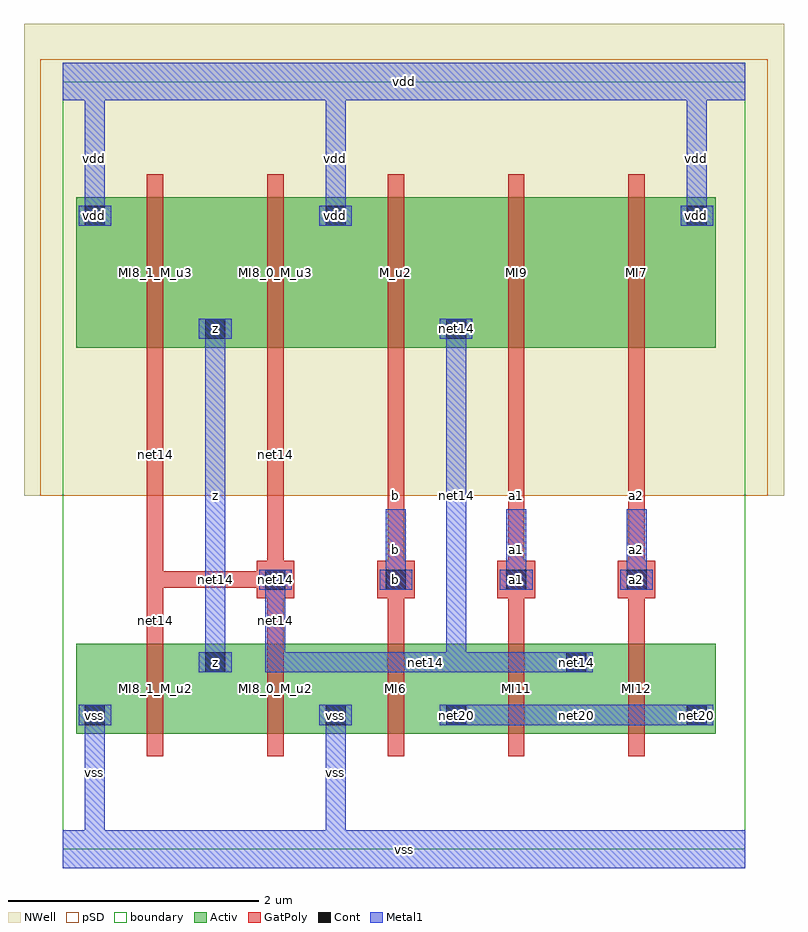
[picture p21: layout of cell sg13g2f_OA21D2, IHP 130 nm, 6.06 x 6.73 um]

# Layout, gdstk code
import gdstk
lib = gdstk.Library(unit=1e-6, precision=1e-09)
def R(c, l, rs):  # rectangles x0, y0, x1, y1
    for r in rs: c.add(gdstk.rectangle(r[:2], r[2:], *l))
def A(c, l, x, y, w, h, nx, ny, dx, dy):  # array of equal rectangles
    R(c, l, [(x+i*dx, y+j*dy, x+i*dx+w, y+j*dy+h) for i in range(nx) for j in range(ny)])
Activ = (1, 0)
GatPoly = (5, 0)
Cont = (6, 0)
Metal1 = (8, 0)
pSD = (14, 0)
NWell = (31, 0)
TEXT = (63, 0)
boundary = (189, 4)

sg13g2f_oa21d2 = lib.new_cell('sg13g2f_OA21D2')
A(sg13g2f_oa21d2, Activ, 0.105, 0.92, 1.26, 0.72, 5, 1, 0.96, 0)
A(sg13g2f_oa21d2, Activ, 0.105, 4, 1.26, 1.2, 5, 1, 0.96, 0)
R(sg13g2f_oa21d2, Activ, [(0.105,0.92,0.405,1.22), (2.025,0.92,2.325,1.22), (2.985,0.92,3.285,1.22), (4.905,0.92,5.205,1.22), (1.065,1.34,1.365,1.64), (3.945,1.34,4.245,1.64), (1.065,4,1.365,4.3), (2.985,4,3.285,4.3), (0.105,4.9,0.405,5.2), (2.025,4.9,2.325,5.2), (4.905,4.9,5.205,5.2)])
A(sg13g2f_oa21d2, GatPoly, 0.67, 0.74, 0.13, 1.08, 5, 1, 0.96, 0)
A(sg13g2f_oa21d2, GatPoly, 2.59, 1.425, 0.13, 2.79, 3, 1, 0.96, 0)
A(sg13g2f_oa21d2, GatPoly, 1.545, 2, 0.3, 0.3, 4, 1, 0.96, 0)
A(sg13g2f_oa21d2, GatPoly, 0.67, 3.82, 0.13, 1.56, 5, 1, 0.96, 0)
R(sg13g2f_oa21d2, GatPoly, [(0.67,1.425,0.8,2.215), (1.63,1.425,1.76,2.215), (0.67,2.085,1.76,2.215), (0.67,2.085,0.8,4.215), (1.63,2.085,1.76,4.215)])
A(sg13g2f_oa21d2, Cont, 1.615, 2.07, 0.16, 0.16, 4, 1, 0.96, 0)
R(sg13g2f_oa21d2, Cont, [(0.175,0.99,0.335,1.15), (2.095,0.99,2.255,1.15), (3.055,0.99,3.215,1.15), (4.975,0.99,5.135,1.15), (1.135,1.41,1.295,1.57), (4.015,1.41,4.175,1.57), (1.135,4.07,1.295,4.23), (3.055,4.07,3.215,4.23), (0.175,4.97,0.335,5.13), (2.095,4.97,2.255,5.13), (4.975,4.97,5.135,5.13)])
A(sg13g2f_oa21d2, Metal1, 1.565, 2.07, 0.26, 0.16, 4, 1, 0.96, 0)
A(sg13g2f_oa21d2, Metal1, 2.575, 2.07, 0.16, 0.64, 3, 1, 0.96, 0)
R(sg13g2f_oa21d2, Metal1, [(0,-0.15,5.44,0.15), (0.175,0.07,0.335,1.15), (2.095,0.07,2.255,1.15), (0.125,0.99,0.385,1.15), (2.045,0.99,2.305,1.15), (3.005,0.99,3.265,1.15), (3.055,0.99,5.135,1.15), (4.925,0.99,5.185,1.15), (1.085,1.41,1.345,1.57), (1.135,1.41,1.295,4.23), (1.615,1.41,4.175,1.57), (1.615,1.41,1.775,2.23), (3.055,1.41,3.215,4.23), (3.965,1.41,4.225,1.57), (1.085,4.07,1.345,4.23), (3.005,4.07,3.265,4.23), (0.125,4.97,0.385,5.13), (0.175,4.97,0.335,6.05), (2.045,4.97,2.305,5.13), (2.095,4.97,2.255,6.05), (4.925,4.97,5.185,5.13), (4.975,4.97,5.135,6.05), (0,5.97,5.44,6.27)])
R(sg13g2f_oa21d2, pSD, [(-0.18,2.82,5.62,5.94), (-0.18,5.94,5.62,6.3)])
R(sg13g2f_oa21d2, NWell, [(-0.31,2.82,5.75,6.58)])
R(sg13g2f_oa21d2, boundary, [(0,0,5.44,6.12)])
sg13g2f_oa21d2.add(gdstk.FlexPath([(0.105,0.41),(5.205,0.41)], 0, ends="flush", simple_path=True, layer=63, datatype=0))  # TEXT
sg13g2f_oa21d2.add(gdstk.FlexPath([(0.105,1.07),(5.205,1.07)], 0, ends="flush", simple_path=True, layer=63, datatype=0))  # TEXT
sg13g2f_oa21d2.add(gdstk.FlexPath([(0.105,1.49),(5.205,1.49)], 0, ends="flush", simple_path=True, layer=63, datatype=0))  # TEXT
sg13g2f_oa21d2.add(gdstk.FlexPath([(0.105,2.15),(5.205,2.15)], 0, ends="flush", simple_path=True, layer=63, datatype=0))  # TEXT
sg13g2f_oa21d2.add(gdstk.FlexPath([(0.105,2.63),(5.205,2.63)], 0, ends="flush", simple_path=True, layer=63, datatype=0))  # TEXT
sg13g2f_oa21d2.add(gdstk.FlexPath([(0.105,3.11),(5.205,3.11)], 0, ends="flush", simple_path=True, layer=63, datatype=0))  # TEXT
sg13g2f_oa21d2.add(gdstk.FlexPath([(0.105,4.15),(5.205,4.15)], 0, ends="flush", simple_path=True, layer=63, datatype=0))  # TEXT
sg13g2f_oa21d2.add(gdstk.FlexPath([(0.105,4.71),(5.205,4.71)], 0, ends="flush", simple_path=True, layer=63, datatype=0))  # TEXT
sg13g2f_oa21d2.add(gdstk.FlexPath([(0.105,5.05),(5.205,5.05)], 0, ends="flush", simple_path=True, layer=63, datatype=0))  # TEXT
sg13g2f_oa21d2.add(gdstk.FlexPath([(0.105,5.71),(5.205,5.71)], 0, ends="flush", simple_path=True, layer=63, datatype=0))  # TEXT
sg13g2f_oa21d2.add(gdstk.FlexPath([(0.255,0.07),(0.255,6.05)], 0, ends="flush", simple_path=True, layer=63, datatype=0))  # TEXT
sg13g2f_oa21d2.add(gdstk.FlexPath([(0.735,0.07),(0.735,6.05)], 0, ends="flush", simple_path=True, layer=63, datatype=0))  # TEXT
sg13g2f_oa21d2.add(gdstk.FlexPath([(1.215,0.07),(1.215,6.05)], 0, ends="flush", simple_path=True, layer=63, datatype=0))  # TEXT
sg13g2f_oa21d2.add(gdstk.FlexPath([(1.695,0.07),(1.695,6.05)], 0, ends="flush", simple_path=True, layer=63, datatype=0))  # TEXT
sg13g2f_oa21d2.add(gdstk.FlexPath([(2.175,0.07),(2.175,6.05)], 0, ends="flush", simple_path=True, layer=63, datatype=0))  # TEXT
sg13g2f_oa21d2.add(gdstk.FlexPath([(2.655,0.07),(2.655,6.05)], 0, ends="flush", simple_path=True, layer=63, datatype=0))  # TEXT
sg13g2f_oa21d2.add(gdstk.FlexPath([(3.135,0.07),(3.135,6.05)], 0, ends="flush", simple_path=True, layer=63, datatype=0))  # TEXT
sg13g2f_oa21d2.add(gdstk.FlexPath([(3.615,0.07),(3.615,6.05)], 0, ends="flush", simple_path=True, layer=63, datatype=0))  # TEXT
sg13g2f_oa21d2.add(gdstk.FlexPath([(4.095,0.07),(4.095,6.05)], 0, ends="flush", simple_path=True, layer=63, datatype=0))  # TEXT
sg13g2f_oa21d2.add(gdstk.FlexPath([(4.575,0.07),(4.575,6.05)], 0, ends="flush", simple_path=True, layer=63, datatype=0))  # TEXT
sg13g2f_oa21d2.add(gdstk.FlexPath([(5.055,0.07),(5.055,6.05)], 0, ends="flush", simple_path=True, layer=63, datatype=0))  # TEXT
sg13g2f_oa21d2.add(gdstk.Label('net14', (4.095,1.49), layer=6, texttype=0))
sg13g2f_oa21d2.add(gdstk.Label('net14', (3.135,4.15), layer=6, texttype=0))
sg13g2f_oa21d2.add(gdstk.Label('net14', (1.695,2.15), layer=6, texttype=0))
sg13g2f_oa21d2.add(gdstk.Label('a2', (4.575,2.15), layer=6, texttype=0))
sg13g2f_oa21d2.add(gdstk.Label('net20', (5.055,1.07), layer=6, texttype=0))
sg13g2f_oa21d2.add(gdstk.Label('net20', (3.135,1.07), layer=6, texttype=0))
sg13g2f_oa21d2.add(gdstk.Label('a1', (3.615,2.15), layer=6, texttype=0))
sg13g2f_oa21d2.add(gdstk.Label('b', (2.655,2.15), layer=6, texttype=0))
sg13g2f_oa21d2.add(gdstk.Label('z', (1.215,1.49), layer=6, texttype=0))
sg13g2f_oa21d2.add(gdstk.Label('z', (1.215,4.15), layer=6, texttype=0))
sg13g2f_oa21d2.add(gdstk.Label('vss', (2.175,1.07), layer=6, texttype=0))
sg13g2f_oa21d2.add(gdstk.Label('vss', (0.255,1.07), layer=6, texttype=0))
sg13g2f_oa21d2.add(gdstk.Label('vdd', (2.175,5.05), layer=6, texttype=0))
sg13g2f_oa21d2.add(gdstk.Label('vdd', (0.255,5.05), layer=6, texttype=0))
sg13g2f_oa21d2.add(gdstk.Label('vdd', (5.055,5.05), layer=6, texttype=0))
sg13g2f_oa21d2.add(gdstk.Label('net14', (4.095,1.49), layer=8, texttype=0))
sg13g2f_oa21d2.add(gdstk.Label('net14', (3.135,4.15), layer=8, texttype=0))
sg13g2f_oa21d2.add(gdstk.Label('net14', (2.895,1.49), layer=8, texttype=0))
sg13g2f_oa21d2.add(gdstk.Label('net14', (1.695,1.82), layer=8, texttype=0))
sg13g2f_oa21d2.add(gdstk.Label('net14', (1.695,2.15), layer=8, texttype=0))
sg13g2f_oa21d2.add(gdstk.Label('net14', (3.135,2.82), layer=8, texttype=0))
sg13g2f_oa21d2.add(gdstk.Label('net20', (5.055,1.07), layer=8, texttype=0))
sg13g2f_oa21d2.add(gdstk.Label('net20', (3.135,1.07), layer=8, texttype=0))
sg13g2f_oa21d2.add(gdstk.Label('net20', (4.095,1.07), layer=8, texttype=0))
sg13g2f_oa21d2.add(gdstk.Label('vss', (2.175,1.07), layer=8, texttype=0))
sg13g2f_oa21d2.add(gdstk.Label('vss', (2.175,0.61), layer=8, texttype=0))
sg13g2f_oa21d2.add(gdstk.Label('vss', (0.255,1.07), layer=8, texttype=0))
sg13g2f_oa21d2.add(gdstk.Label('vss', (0.255,0.61), layer=8, texttype=0))
sg13g2f_oa21d2.add(gdstk.Label('vdd', (2.175,5.05), layer=8, texttype=0))
sg13g2f_oa21d2.add(gdstk.Label('vdd', (2.175,5.51), layer=8, texttype=0))
sg13g2f_oa21d2.add(gdstk.Label('vdd', (0.255,5.05), layer=8, texttype=0))
sg13g2f_oa21d2.add(gdstk.Label('vdd', (0.255,5.51), layer=8, texttype=0))
sg13g2f_oa21d2.add(gdstk.Label('vdd', (5.055,5.05), layer=8, texttype=0))
sg13g2f_oa21d2.add(gdstk.Label('vdd', (5.055,5.51), layer=8, texttype=0))
sg13g2f_oa21d2.add(gdstk.Label('a2', (4.575,2.15), layer=8, texttype=2))
sg13g2f_oa21d2.add(gdstk.Label('a2', (4.575,2.39), layer=8, texttype=2))
sg13g2f_oa21d2.add(gdstk.Label('a1', (3.615,2.15), layer=8, texttype=2))
sg13g2f_oa21d2.add(gdstk.Label('a1', (3.615,2.39), layer=8, texttype=2))
sg13g2f_oa21d2.add(gdstk.Label('b', (2.655,2.15), layer=8, texttype=2))
sg13g2f_oa21d2.add(gdstk.Label('b', (2.655,2.39), layer=8, texttype=2))
sg13g2f_oa21d2.add(gdstk.Label('z', (1.215,1.49), layer=8, texttype=2))
sg13g2f_oa21d2.add(gdstk.Label('z', (1.215,4.15), layer=8, texttype=2))
sg13g2f_oa21d2.add(gdstk.Label('z', (1.215,2.82), layer=8, texttype=2))
sg13g2f_oa21d2.add(gdstk.Label('vss', (2.72,0), layer=8, texttype=2))
sg13g2f_oa21d2.add(gdstk.Label('vdd', (2.72,6.12), layer=8, texttype=2))
sg13g2f_oa21d2.add(gdstk.Label('a2', (4.575,2.15), layer=8, texttype=2))
sg13g2f_oa21d2.add(gdstk.Label('a2', (4.575,2.39), layer=8, texttype=2))
sg13g2f_oa21d2.add(gdstk.Label('a1', (3.615,2.15), layer=8, texttype=2))
sg13g2f_oa21d2.add(gdstk.Label('a1', (3.615,2.39), layer=8, texttype=2))
sg13g2f_oa21d2.add(gdstk.Label('b', (2.655,2.15), layer=8, texttype=2))
sg13g2f_oa21d2.add(gdstk.Label('b', (2.655,2.39), layer=8, texttype=2))
sg13g2f_oa21d2.add(gdstk.Label('z', (1.215,1.49), layer=8, texttype=2))
sg13g2f_oa21d2.add(gdstk.Label('z', (1.215,4.15), layer=8, texttype=2))
sg13g2f_oa21d2.add(gdstk.Label('z', (1.215,2.82), layer=8, texttype=2))
sg13g2f_oa21d2.add(gdstk.Label('vss', (2.72,0), layer=8, texttype=2))
sg13g2f_oa21d2.add(gdstk.Label('vdd', (2.72,6.12), layer=8, texttype=2))
sg13g2f_oa21d2.add(gdstk.Label('MI12', (4.575,1.28), layer=1, texttype=0))
sg13g2f_oa21d2.add(gdstk.Label('MI11', (3.615,1.28), layer=1, texttype=0))
sg13g2f_oa21d2.add(gdstk.Label('MI6', (2.655,1.28), layer=1, texttype=0))
sg13g2f_oa21d2.add(gdstk.Label('MI8_0_M_u2', (1.695,1.28), layer=1, texttype=0))
sg13g2f_oa21d2.add(gdstk.Label('MI8_1_M_u2', (0.735,1.28), layer=1, texttype=0))
sg13g2f_oa21d2.add(gdstk.Label('MI9', (3.615,4.6), layer=1, texttype=0))
sg13g2f_oa21d2.add(gdstk.Label('MI8_0_M_u3', (1.695,4.6), layer=1, texttype=0))
sg13g2f_oa21d2.add(gdstk.Label('MI8_1_M_u3', (0.735,4.6), layer=1, texttype=0))
sg13g2f_oa21d2.add(gdstk.Label('M_u2', (2.655,4.6), layer=1, texttype=0))
sg13g2f_oa21d2.add(gdstk.Label('MI7', (4.575,4.6), layer=1, texttype=0))
sg13g2f_oa21d2.add(gdstk.Label('net14', (4.095,1.49), layer=1, texttype=0))
sg13g2f_oa21d2.add(gdstk.Label('net14', (3.135,4.15), layer=1, texttype=0))
sg13g2f_oa21d2.add(gdstk.Label('net20', (5.055,1.07), layer=1, texttype=0))
sg13g2f_oa21d2.add(gdstk.Label('net20', (3.135,1.07), layer=1, texttype=0))
sg13g2f_oa21d2.add(gdstk.Label('z', (1.215,1.49), layer=1, texttype=0))
sg13g2f_oa21d2.add(gdstk.Label('z', (1.215,4.15), layer=1, texttype=0))
sg13g2f_oa21d2.add(gdstk.Label('vss', (2.175,1.07), layer=1, texttype=0))
sg13g2f_oa21d2.add(gdstk.Label('vss', (0.255,1.07), layer=1, texttype=0))
sg13g2f_oa21d2.add(gdstk.Label('vdd', (2.175,5.05), layer=1, texttype=0))
sg13g2f_oa21d2.add(gdstk.Label('vdd', (0.255,5.05), layer=1, texttype=0))
sg13g2f_oa21d2.add(gdstk.Label('vdd', (5.055,5.05), layer=1, texttype=0))
sg13g2f_oa21d2.add(gdstk.Label('a2', (4.575,2.15), layer=8, texttype=25))
sg13g2f_oa21d2.add(gdstk.Label('a2', (4.575,2.39), layer=8, texttype=25))
sg13g2f_oa21d2.add(gdstk.Label('a1', (3.615,2.15), layer=8, texttype=25))
sg13g2f_oa21d2.add(gdstk.Label('a1', (3.615,2.39), layer=8, texttype=25))
sg13g2f_oa21d2.add(gdstk.Label('b', (2.655,2.15), layer=8, texttype=25))
sg13g2f_oa21d2.add(gdstk.Label('b', (2.655,2.39), layer=8, texttype=25))
sg13g2f_oa21d2.add(gdstk.Label('z', (1.215,1.49), layer=8, texttype=25))
sg13g2f_oa21d2.add(gdstk.Label('z', (1.215,4.15), layer=8, texttype=25))
sg13g2f_oa21d2.add(gdstk.Label('z', (1.215,2.82), layer=8, texttype=25))
sg13g2f_oa21d2.add(gdstk.Label('vss', (2.72,0), layer=8, texttype=25))
sg13g2f_oa21d2.add(gdstk.Label('vdd', (2.72,6.12), layer=8, texttype=25))
sg13g2f_oa21d2.add(gdstk.Label('net14', (1.695,2.15), layer=5, texttype=0))
sg13g2f_oa21d2.add(gdstk.Label('net14', (1.695,1.82), layer=5, texttype=0))
sg13g2f_oa21d2.add(gdstk.Label('net14', (1.215,2.15), layer=5, texttype=0))
sg13g2f_oa21d2.add(gdstk.Label('net14', (0.735,1.82), layer=5, texttype=0))
sg13g2f_oa21d2.add(gdstk.Label('net14', (1.695,3.15), layer=5, texttype=0))
sg13g2f_oa21d2.add(gdstk.Label('net14', (0.735,3.15), layer=5, texttype=0))
sg13g2f_oa21d2.add(gdstk.Label('a2', (4.575,2.82), layer=5, texttype=0))
sg13g2f_oa21d2.add(gdstk.Label('a2', (4.575,2.15), layer=5, texttype=0))
sg13g2f_oa21d2.add(gdstk.Label('a1', (3.615,2.82), layer=5, texttype=0))
sg13g2f_oa21d2.add(gdstk.Label('a1', (3.615,2.15), layer=5, texttype=0))
sg13g2f_oa21d2.add(gdstk.Label('b', (2.655,2.82), layer=5, texttype=0))
sg13g2f_oa21d2.add(gdstk.Label('b', (2.655,2.15), layer=5, texttype=0))

lib.write_gds('sg13g2f_OA21D2.gds')
